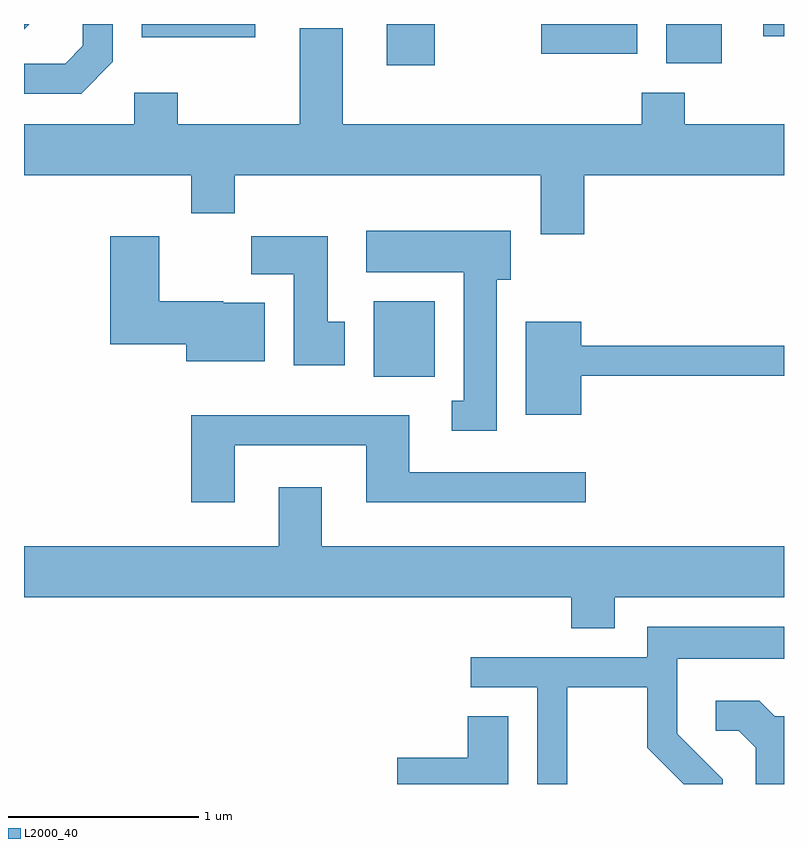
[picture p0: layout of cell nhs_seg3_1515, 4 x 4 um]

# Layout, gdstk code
import gdstk
lib = gdstk.Library(unit=1e-6, precision=1e-09)
def R(c, l, rs):  # rectangles x0, y0, x1, y1
    for r in rs: c.add(gdstk.rectangle(r[:2], r[2:], *l))
def P(c, l, *ps):  # polygons
    for p in ps: c.add(gdstk.Polygon(p, *l))
L2000_40 = (2000, 40)

nhs_seg3_1515 = lib.new_cell('nhs_seg3_1515')
R(nhs_seg3_1515, L2000_40, [(231.451,1156.036,231.774,1156.434), (231.521,1157.676,231.774,1157.892), (232.991,1157.686,233.284,1157.892), (232.333,1157.736,232.839,1157.892), (230.231,1157.821,230.829,1157.892), (233.501,1157.828,233.611,1157.892)])
P(nhs_seg3_1515, L2000_40, [(230.079,1157.694),(230.079,1157.892),(229.921,1157.892),(229.921,1157.777),(229.829,1157.684),(229.611,1157.684),(229.611,1157.526),(229.912,1157.526)],
  [(229.638,1157.892),(229.611,1157.892),(229.611,1157.865)],
  [(232.559,1157.096),(233.611,1157.096),(233.611,1157.364),(233.089,1157.364),(233.089,1157.529),(232.861,1157.529),(232.861,1157.364),(231.289,1157.364),(231.289,1157.869),(231.061,1157.869),(231.061,1157.364),(230.419,1157.364),(230.419,1157.529),(230.191,1157.529),(230.191,1157.364),(229.611,1157.364),(229.611,1157.096),(230.491,1157.096),(230.491,1156.896),(230.719,1156.896),(230.719,1157.096),(232.331,1157.096),(232.331,1156.786),(232.559,1156.786)],
  [(232.099,1156.546),(232.174,1156.546),(232.174,1156.804),(231.411,1156.804),(231.411,1156.586),(231.926,1156.586),(231.926,1155.909),(231.863,1155.909),(231.863,1155.751),(232.099,1155.751)],
  [(231.299,1156.324),(231.209,1156.324),(231.209,1156.774),(230.806,1156.774),(230.806,1156.576),(231.031,1156.576),(231.031,1156.096),(231.299,1156.096)],
  [(230.879,1156.424),(230.66,1156.424),(230.66,1156.434),(230.324,1156.434),(230.324,1156.774),(230.066,1156.774),(230.066,1156.206),(230.466,1156.206),(230.466,1156.116),(230.879,1156.116)],
  [(232.544,1156.041),(233.611,1156.041),(233.611,1156.199),(232.544,1156.199),(232.544,1156.324),(232.251,1156.324),(232.251,1155.836),(232.544,1155.836)],
  [(230.719,1155.676),(231.411,1155.676),(231.411,1155.376),(232.568,1155.376),(232.568,1155.534),(231.639,1155.534),(231.639,1155.834),(230.491,1155.834),(230.491,1155.376),(230.719,1155.376)],
  [(232.719,1154.876),(233.611,1154.876),(233.611,1155.144),(231.179,1155.144),(231.179,1155.454),(230.951,1155.454),(230.951,1155.144),(229.611,1155.144),(229.611,1154.876),(232.491,1154.876),(232.491,1154.711),(232.719,1154.711)],
  [(232.469,1154.401),(232.891,1154.401),(232.891,1154.084),(233.083,1153.892),(233.289,1153.892),(233.289,1153.917),(233.049,1154.157),(233.049,1154.551),(233.611,1154.551),(233.611,1154.719),(232.891,1154.719),(232.891,1154.559),(231.963,1154.559),(231.963,1154.401),(232.311,1154.401),(232.311,1153.892),(232.469,1153.892)],
  [(233.611,1154.249),(233.562,1154.249),(233.482,1154.329),(233.253,1154.329),(233.253,1154.171),(233.374,1154.171),(233.461,1154.084),(233.461,1153.892),(233.611,1153.892)],
  [(232.159,1154.249),(231.946,1154.249),(231.946,1154.029),(231.576,1154.029),(231.576,1153.892),(232.159,1153.892)])

lib.write_gds('nhs_seg3_1515.gds')
